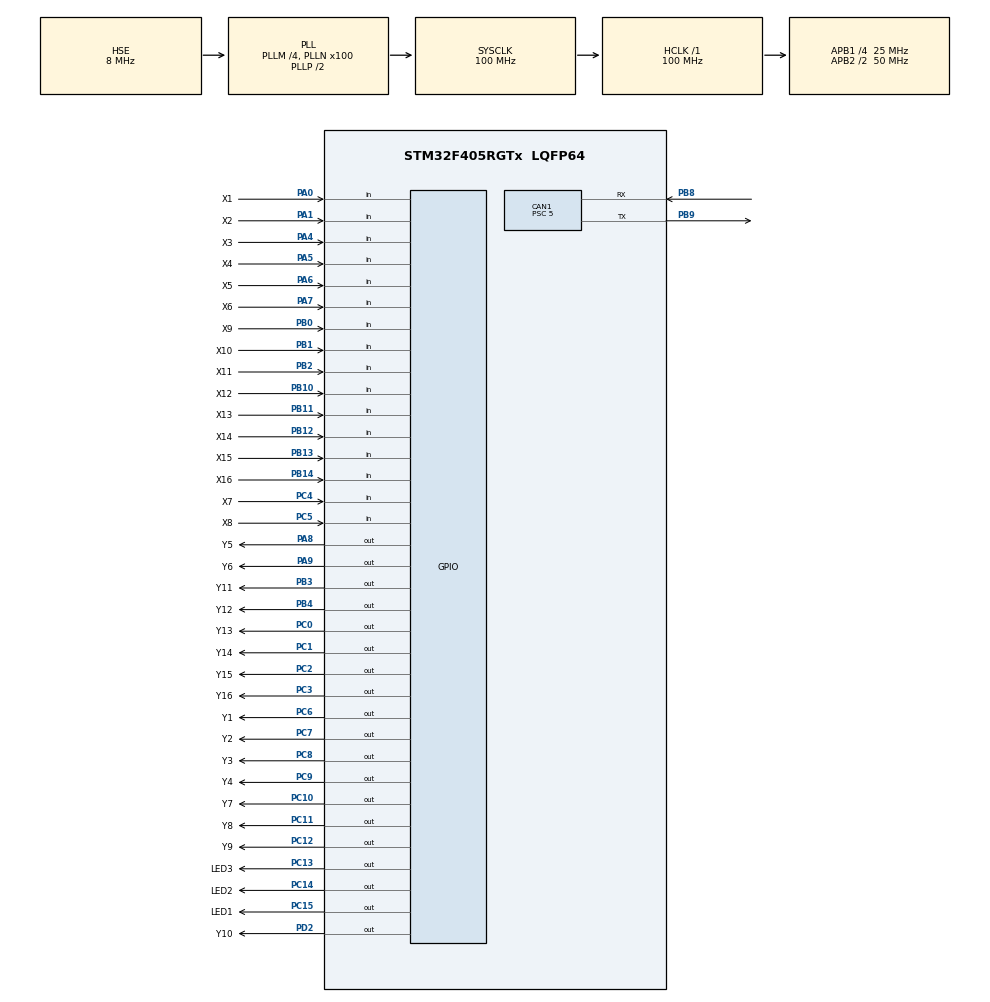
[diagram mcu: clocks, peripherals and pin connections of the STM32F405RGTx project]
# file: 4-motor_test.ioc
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CAN1.ABOM=ENABLE
CAN1.AWUM=ENABLE
CAN1.BS1=CAN_BS1_2TQ
CAN1.BS2=CAN_BS2_2TQ
CAN1.CalculateBaudRate=1000000
CAN1.CalculateTimeBit=1000
CAN1.CalculateTimeQuantum=200.0
CAN1.Prescaler=5
Mcu.Family=STM32F4
Mcu.Name=STM32F405RGTx
Mcu.Package=LQFP64
NVIC.CAN1_RX0_IRQn=true\:0\:0\:false\:false\:true\:true\:true\:true
NVIC.PriorityGroup=NVIC_PRIORITYGROUP_4
NVIC.TIM3_IRQn=true\:0\:0\:false\:false\:true\:true\:true\:true
NVIC.TIM6_DAC_IRQn=true\:0\:0\:false\:false\:true\:true\:true\:true
PA0-WKUP.GPIO_Label=X1
PA0-WKUP.Signal=GPIO_Input
PA1.GPIO_Label=X2
PA1.Signal=GPIO_Input
PA11.Signal=USB_OTG_FS_DM
PA12.Signal=USB_OTG_FS_DP
PA13.Mode=Serial_Wire
PA13.Signal=SYS_JTMS-SWDIO
PA14.Mode=Serial_Wire
PA14.Signal=SYS_JTCK-SWCLK
PA2.Signal=USART2_TX
PA3.Signal=USART2_RX
PA4.GPIO_Label=X3
PA4.Signal=GPIO_Input
PA5.GPIO_Label=X4
PA5.Signal=GPIO_Input
PA6.GPIO_Label=X5
PA6.Signal=GPIO_Input
PA7.GPIO_Label=X6
PA7.Signal=GPIO_Input
PA8.GPIO_Label=Y5
PA8.PinState=GPIO_PIN_SET
PA8.Signal=GPIO_Output
PA9.GPIO_Label=Y6
PA9.PinState=GPIO_PIN_SET
PA9.Signal=GPIO_Output
PB0.GPIO_Label=X9
PB0.Signal=GPIO_Input
PB1.GPIO_Label=X10
PB1.Signal=GPIO_Input
PB10.GPIO_Label=X12
PB10.Signal=GPIO_Input
PB11.GPIO_Label=X13
PB11.Signal=GPIO_Input
PB12.GPIO_Label=X14
PB12.Signal=GPIO_Input
PB13.GPIO_Label=X15
PB13.Signal=GPIO_Input
PB14.GPIO_Label=X16
PB14.Signal=GPIO_Input
PB2.GPIO_Label=X11
PB2.Signal=GPIO_Input
PB3.GPIO_Label=Y11
PB3.PinState=GPIO_PIN_SET
PB3.Signal=GPIO_Output
PB4.GPIO_Label=Y12
PB4.PinState=GPIO_PIN_SET
PB4.Signal=GPIO_Output
PB6.Signal=USART1_TX
PB7.Signal=USART1_RX
PB8.Mode=CAN_Activate
PB8.Signal=CAN1_RX
PB9.Mode=CAN_Activate
PB9.Signal=CAN1_TX
PC0.GPIO_Label=Y13
PC0.PinState=GPIO_PIN_SET
PC0.Signal=GPIO_Output
PC1.GPIO_Label=Y14
PC1.PinState=GPIO_PIN_SET
PC1.Signal=GPIO_Output
PC10.GPIO_Label=Y7
PC10.PinState=GPIO_PIN_SET
PC10.Signal=GPIO_Output
PC11.GPIO_Label=Y8
PC11.PinState=GPIO_PIN_SET
PC11.Signal=GPIO_Output
PC12.GPIO_Label=Y9
PC12.PinState=GPIO_PIN_SET
PC12.Signal=GPIO_Output
PC13-ANTI_TAMP.GPIO_Label=LED3
PC13-ANTI_TAMP.PinState=GPIO_PIN_SET
PC13-ANTI_TAMP.Signal=GPIO_Output
PC14-OSC32_IN.GPIO_Label=LED2
PC14-OSC32_IN.PinState=GPIO_PIN_SET
PC14-OSC32_IN.Signal=GPIO_Output
PC15-OSC32_OUT.GPIO_Label=LED1
PC15-OSC32_OUT.PinState=GPIO_PIN_SET
PC15-OSC32_OUT.Signal=GPIO_Output
PC2.GPIO_Label=Y15
PC2.PinState=GPIO_PIN_SET
PC2.Signal=GPIO_Output
PC3.GPIO_Label=Y16
PC3.PinState=GPIO_PIN_SET
PC3.Signal=GPIO_Output
PC4.GPIO_Label=X7
PC4.Signal=GPIO_Input
PC5.GPIO_Label=X8
PC5.Signal=GPIO_Input
PC6.GPIO_Label=Y1
PC6.PinState=GPIO_PIN_SET
PC6.Signal=GPIO_Output
PC7.GPIO_Label=Y2
PC7.PinState=GPIO_PIN_SET
PC7.Signal=GPIO_Output
PC8.GPIO_Label=Y3
PC8.PinState=GPIO_PIN_SET
PC8.Signal=GPIO_Output
PC9.GPIO_Label=Y4
PC9.PinState=GPIO_PIN_SET
PC9.Signal=GPIO_Output
PD2.GPIO_Label=Y10
PD2.PinState=GPIO_PIN_SET
PD2.Signal=GPIO_Output
PH0-OSC_IN.Mode=HSE-External-Oscillator
PH0-OSC_IN.Signal=RCC_OSC_IN
PH1-OSC_OUT.Mode=HSE-External-Oscillator
PH1-OSC_OUT.Signal=RCC_OSC_OUT
ProjectManager.HeapSize=0x200
ProjectManager.StackSize=0x400
ProjectManager.TargetToolchain=MDK-ARM V5.32
RCC.48MHZClocksFreq_Value=50000000
RCC.AHBFreq_Value=100000000
RCC.APB1CLKDivider=RCC_HCLK_DIV4
RCC.APB1Freq_Value=25000000
RCC.APB1TimFreq_Value=50000000
RCC.APB2CLKDivider=RCC_HCLK_DIV2
RCC.APB2Freq_Value=50000000
RCC.APB2TimFreq_Value=100000000
RCC.CortexFreq_Value=100000000
RCC.HCLKFreq_Value=100000000
RCC.HSE_VALUE=8000000
RCC.HSI_VALUE=16000000
RCC.LSE_VALUE=32768
RCC.PLLM=4
RCC.PLLN=100
RCC.PLLSourceVirtual=RCC_PLLSOURCE_HSE
RCC.SYSCLKFreq_VALUE=100000000
RCC.SYSCLKSource=RCC_SYSCLKSOURCE_PLLCLK
RCC.VCOOutputFreq_Value=200000000
TIM3.Period=4999
TIM3.Prescaler=4999
TIM6.Period=4999
TIM6.Prescaler=4999
VP_TIM3_VS_ClockSourceINT.Mode=Internal
VP_TIM6_VS_ClockSourceINT.Mode=Enable_Timer
board=custom

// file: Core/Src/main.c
/* USER CODE BEGIN Header */
/* USER CODE END Header */

#include "main.h"
#include "can.h"
#include "tim.h"
#include "gpio.h"

/* USER CODE BEGIN Includes */
#include "motor.h"
/* USER CODE END Includes */

void SystemClock_Config(void);

int main(void)
{

  /* MCU Configuration--------------------------------------------------------*/

  /* Reset of all peripherals, Initializes the Flash interface and the Systick. */
  HAL_Init();

  /* Configure the system clock */
  SystemClock_Config();

  /* Initialize all configured peripherals */
  MX_GPIO_Init();
  MX_TIM3_Init();
  MX_TIM6_Init();
  MX_CAN1_Init();

  /* USER CODE BEGIN 2 */
  CAN1_Config();
  Motor_Init();
  Position_Init(0,0,150);
  /* USER CODE END 2 */

  /* Infinite loop */
  /* USER CODE BEGIN WHILE */
  HAL_GPIO_WritePin(Y6_GPIO_Port, Y6_Pin, GPIO_PIN_RESET);//yellowled_S
  HAL_Delay(1000);

	motorGoHome(1);
	motorGoHome(2);
	HAL_Delay(100);
	motorGoHome(3);
	motorGoHome(4);
	HAL_Delay(100);
	motorGoHome(5);

	HAL_Delay(4000);

//	motorGoPosition(1,1000,50,-213840);
//	motorGoPosition(2,1000,50,-213840);
//	HAL_Delay(100);
//	motorGoPosition(3,1000,50,16384);
//	motorGoPosition(4,1000,50,-16384);
//	HAL_Delay(100);
	motorGoPosition(5,500,50,-5010);

  while (1)
  {
    /* USER CODE END WHILE */
    /* USER CODE BEGIN 3 */
	if(motor_statuses[4].is_reach ==1)
	{
		HAL_GPIO_TogglePin(LED3_GPIO_Port, LED3_Pin);
	}

	HAL_Delay(100);
  }
  /* USER CODE END 3 */
}

void SystemClock_Config(void)
{
  RCC_OscInitTypeDef RCC_OscInitStruct = {0};
  RCC_ClkInitTypeDef RCC_ClkInitStruct = {0};

  /** Configure the main internal regulator output voltage
  */
  __HAL_RCC_PWR_CLK_ENABLE();
  __HAL_PWR_VOLTAGESCALING_CONFIG(PWR_REGULATOR_VOLTAGE_SCALE1);

  /** Initializes the RCC Oscillators according to the specified parameters
  * in the RCC_OscInitTypeDef structure.
  */
  RCC_OscInitStruct.OscillatorType = RCC_OSCILLATORTYPE_HSE;
  RCC_OscInitStruct.HSEState = RCC_HSE_ON;
  RCC_OscInitStruct.PLL.PLLState = RCC_PLL_ON;
  RCC_OscInitStruct.PLL.PLLSource = RCC_PLLSOURCE_HSE;
  RCC_OscInitStruct.PLL.PLLM = 4;
  RCC_OscInitStruct.PLL.PLLN = 100;
  RCC_OscInitStruct.PLL.PLLP = RCC_PLLP_DIV2;
  RCC_OscInitStruct.PLL.PLLQ = 4;
  if (HAL_RCC_OscConfig(&RCC_OscInitStruct) != HAL_OK)
  {
    Error_Handler();
  }

  /** Initializes the CPU, AHB and APB buses clocks
  */
  RCC_ClkInitStruct.ClockType = RCC_CLOCKTYPE_HCLK|RCC_CLOCKTYPE_SYSCLK
                              |RCC_CLOCKTYPE_PCLK1|RCC_CLOCKTYPE_PCLK2;
  RCC_ClkInitStruct.SYSCLKSource = RCC_SYSCLKSOURCE_PLLCLK;
  RCC_ClkInitStruct.AHBCLKDivider = RCC_SYSCLK_DIV1;
  RCC_ClkInitStruct.APB1CLKDivider = RCC_HCLK_DIV4;
  RCC_ClkInitStruct.APB2CLKDivider = RCC_HCLK_DIV2;

  if (HAL_RCC_ClockConfig(&RCC_ClkInitStruct, FLASH_LATENCY_3) != HAL_OK)
  {
    Error_Handler();
  }
}

void Error_Handler(void)
{
  __disable_irq();
  while (1)
  {
  }
}
